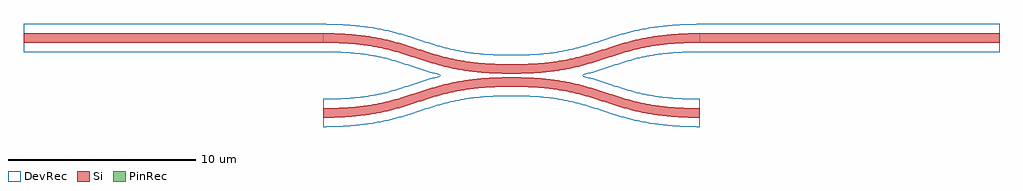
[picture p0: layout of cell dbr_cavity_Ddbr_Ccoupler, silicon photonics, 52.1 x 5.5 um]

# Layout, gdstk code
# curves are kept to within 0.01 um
from math import pi, radians
import gdstk
lib = gdstk.Library(unit=1e-6, precision=1e-09)
def R(c, l, rs):  # rectangles x0, y0, x1, y1
    for r in rs: c.add(gdstk.rectangle(r[:2], r[2:], *l))
def P(c, l, *ps):  # polygons
    for p in ps: c.add(gdstk.Polygon(p, *l))
Si = (1, 0)
PinRec = (1, 10)
DevRec = (68, 0)

coupler_l0p1_g0p2 = lib.new_cell('coupler_L0p1_G0p2')
P(coupler_l0p1_g0p2, Si, [(-10,-1.9),(-10,-1.4),(-9.281,-1.388),(-8.633,-1.353),(-8.048,-1.298),(-7.319,-1.192),(-6.761,-1.079),(-6.25,-0.951),(-5.692,-0.787),(-4.215,-0.312),(-3.621,-0.148),(-3.162,-0.042),(-2.561,0.069),(-1.892,0.157),(-1.275,0.21),(-0.595,0.242),(0.403,0.248),(1.111,0.226),(1.874,0.169),(2.661,0.069),(3.262,-0.042),(3.982,-0.217),(4.557,-0.386),(6.027,-0.859),(6.6,-1.017),(7.133,-1.138),(7.824,-1.256),(8.492,-1.333),(9.381,-1.388),(10.1,-1.4),(10.1,-1.9),(9.089,-1.876),(8.208,-1.807),(7.332,-1.684),(6.479,-1.502),(5.723,-1.289),(3.932,-0.722),(3.427,-0.591),(2.781,-0.458),(2.052,-0.352),(1.342,-0.289),(0.54,-0.254),(-0.44,-0.254),(-1.115,-0.281),(-1.839,-0.34),(-2.38,-0.409),(-3.059,-0.531),(-3.5,-0.633),(-4.073,-0.791),(-6.033,-1.41),(-6.65,-1.567),(-7.335,-1.702),(-7.877,-1.781),(-8.596,-1.851),(-9.405,-1.892)],
  [(0,0.45),(-0.595,0.458),(-1.404,0.499),(-2.123,0.569),(-2.665,0.648),(-3.35,0.783),(-3.967,0.94),(-5.927,1.559),(-6.5,1.717),(-7.033,1.838),(-7.724,1.956),(-8.392,2.033),(-9.281,2.088),(-10,2.1),(-10,2.6),(-9.405,2.592),(-8.596,2.551),(-7.877,2.481),(-7.335,2.402),(-6.65,2.267),(-6.033,2.11),(-4.073,1.491),(-3.5,1.333),(-2.967,1.212),(-2.276,1.094),(-1.608,1.017),(-0.719,0.962),(0,0.95),(0.819,0.962),(1.467,0.997),(2.052,1.052),(2.683,1.141),(3.25,1.251),(3.85,1.399),(6.049,2.086),(6.568,2.224),(7.034,2.328),(7.754,2.451),(8.447,2.531),(9.225,2.582),(10.1,2.6),(10.1,2.1),(9.381,2.088),(8.492,2.033),(7.824,1.956),(7.133,1.838),(6.6,1.717),(6.027,1.559),(4.557,1.086),(3.982,0.917),(3.262,0.742),(2.661,0.631),(1.992,0.543),(1.375,0.49),(0.695,0.458)])
P(coupler_l0p1_g0p2, DevRec, [(-10,-2.4),(-10,-0.9),(-9.168,-0.883),(-8.437,-0.835),(-7.794,-0.761),(-7.132,-0.648),(-6.225,-0.425),(-4.442,0.142),(-3.689,0.35),(-4.442,0.558),(-6.225,1.125),(-7.132,1.348),(-7.794,1.461),(-8.437,1.535),(-9.168,1.583),(-10,1.6),(-10,3.1),(-9.246,3.087),(-8.56,3.05),(-7.815,2.977),(-7.252,2.895),(-6.636,2.776),(-5.986,2.615),(-5.313,2.416),(-3.775,1.925),(-2.868,1.702),(-2.206,1.589),(-1.563,1.515),(-0.832,1.467),(-0.146,1.45),(0.53,1.454),(1.186,1.48),(1.886,1.537),(2.504,1.619),(3.143,1.739),(3.718,1.881),(5.912,2.567),(6.357,2.687),(7.037,2.838),(7.798,2.962),(8.53,3.04),(9.203,3.082),(10.1,3.1),(10.1,1.6),(9.268,1.583),(8.537,1.535),(7.894,1.461),(7.232,1.348),(6.325,1.125),(4.542,0.558),(3.789,0.35),(4.542,0.142),(6.325,-0.425),(7.232,-0.648),(7.894,-0.761),(8.537,-0.835),(9.268,-0.883),(10.1,-0.9),(10.1,-2.4),(9.346,-2.387),(8.66,-2.35),(7.915,-2.277),(7.352,-2.195),(6.736,-2.076),(6.086,-1.915),(5.413,-1.716),(3.875,-1.225),(2.968,-1.002),(2.306,-0.889),(1.663,-0.815),(0.932,-0.767),(0.246,-0.75),(-0.43,-0.754),(-1.086,-0.78),(-1.786,-0.837),(-2.404,-0.919),(-3.043,-1.039),(-3.618,-1.181),(-5.812,-1.867),(-6.257,-1.987),(-6.937,-2.138),(-7.698,-2.262),(-8.43,-2.34),(-9.103,-2.382)])

straight_gdsfactorypcom_ = lib.new_cell('straight_gdsfactorypcom_6a17a846')
R(straight_gdsfactorypcom_, Si, [(0,-0.25,0.079,0.25)])
R(straight_gdsfactorypcom_, DevRec, [(0,-0.75,0.079,0.75)])

c_straight_gdsfactorypcom_ = lib.new_cell('straight_gdsfactorypcom_437d7d16')
R(c_straight_gdsfactorypcom_, Si, [(0,-0.25,0.01,0.25)])
R(c_straight_gdsfactorypcom_, DevRec, [(0,-0.75,0.01,0.75)])

dbr_cell_gdsfactorypcom_ = lib.new_cell('dbr_cell_gdsfactorypcom_daab304e')
R(dbr_cell_gdsfactorypcom_, Si, [(0,-0.25,0.158,0.25)])
R(dbr_cell_gdsfactorypcom_, DevRec, [(0,-0.75,0.158,0.75)])

dbr_gdsfactorypcomponen_ = lib.new_cell('dbr_gdsfactorypcomponen_872a4027')
dbr_gdsfactorypcomponen_.add(gdstk.Reference(c_straight_gdsfactorypcom_, (0,0), rotation=pi))
dbr_gdsfactorypcomponen_.add(gdstk.Reference(c_straight_gdsfactorypcom_, (15.899,0)))
r = gdstk.Reference(dbr_cell_gdsfactorypcom_, (0,0)); r.repetition = gdstk.Repetition(100, 1, v1=(0.159,0), v2=(0,0)); dbr_gdsfactorypcomponen_.add(r)

unnamed_165 = lib.new_cell('Unnamed_165')
unnamed_165.add(gdstk.Reference(straight_gdsfactorypcom_, (-0.089,0)))
unnamed_165.add(gdstk.Reference(dbr_gdsfactorypcomponen_, (0,0)))

dbr_w0p5_d0p1_n100_l0p0_ = lib.new_cell('dbr_W0p5_D0p1_N100_L0p0_c9156e45')
R(dbr_w0p5_d0p1_n100_l0p0_, DevRec, [(-0.089,-0.75,15.909,0.75)])
dbr_w0p5_d0p1_n100_l0p0_.add(gdstk.FlexPath([(-0.084,0),(-0.094,0)], 0.5, ends="flush", simple_path=True, layer=1, datatype=10))  # PinRec
dbr_w0p5_d0p1_n100_l0p0_.add(gdstk.Reference(unnamed_165, (0,0)))
dbr_w0p5_d0p1_n100_l0p0_.add(gdstk.Label('o1', (-0.089,0), layer=1, texttype=10))

dbr_cavity_ddbr_ccoupler = lib.new_cell('dbr_cavity_Ddbr_Ccoupler')
dbr_cavity_ddbr_ccoupler.add(gdstk.Reference(coupler_l0p1_g0p2, (0,0)))
dbr_cavity_ddbr_ccoupler.add(gdstk.Reference(dbr_w0p5_d0p1_n100_l0p0_, (-10.089,2.35), rotation=pi))
dbr_cavity_ddbr_ccoupler.add(gdstk.Reference(dbr_w0p5_d0p1_n100_l0p0_, (10.189,2.35)))

lib.write_gds('dbr_cavity_Ddbr_Ccoupler.gds')
